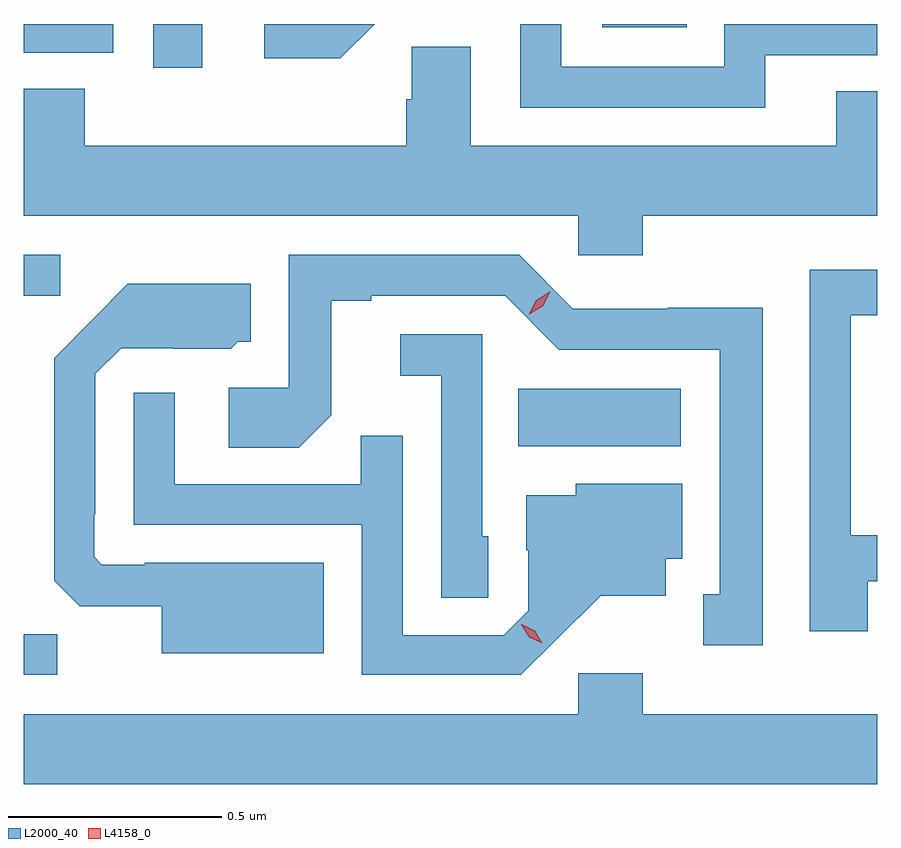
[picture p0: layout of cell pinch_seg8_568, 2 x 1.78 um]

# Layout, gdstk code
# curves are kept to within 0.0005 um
import gdstk
lib = gdstk.Library(unit=1e-6, precision=1e-09)
def R(c, l, rs):  # rectangles x0, y0, x1, y1
    for r in rs: c.add(gdstk.rectangle(r[:2], r[2:], *l))
def P(c, l, *ps):  # polygons
    for p in ps: c.add(gdstk.Polygon(p, *l))
L2000_40 = (2000, 40)
L4158_0 = (4158, 0)

pinch_seg8_568 = lib.new_cell('pinch_seg8_568')
R(pinch_seg8_568, L2000_40, [(135.099,1122.084,135.177,1122.179), (136.258,1122.62,136.639,1122.754), (135.099,1122.972,135.184,1123.068), (135.402,1123.506,135.517,1123.609), (135.099,1123.542,135.309,1123.609), (136.455,1123.601,136.653,1123.609)])
P(pinch_seg8_568, L2000_40, [(135.922,1123.609),(135.663,1123.609),(135.663,1123.529),(135.841,1123.529)],
  [(136.837,1123.536),(137.099,1123.536),(137.099,1123.609),(136.74,1123.609),(136.74,1123.509),(136.359,1123.509),(136.359,1123.609),(136.263,1123.609),(136.263,1123.413),(136.837,1123.413)],
  [(136.55,1123.16),(137.099,1123.16),(137.099,1123.451),(137.003,1123.451),(137.003,1123.324),(136.147,1123.324),(136.147,1123.556),(136.008,1123.556),(136.008,1123.433),(135.995,1123.433),(135.995,1123.324),(135.242,1123.324),(135.242,1123.457),(135.099,1123.457),(135.099,1123.16),(136.398,1123.16),(136.398,1123.067),(136.55,1123.067)],
  [(136.831,1122.944),(136.608,1122.944),(136.608,1122.942),(136.386,1122.942),(136.26,1123.068),(135.72,1123.068),(135.72,1122.756),(135.579,1122.756),(135.579,1122.616),(135.743,1122.616),(135.819,1122.692),(135.819,1122.96),(135.913,1122.96),(135.913,1122.972),(136.227,1122.972),(136.353,1122.846),(136.73,1122.846),(136.73,1122.273),(136.691,1122.273),(136.691,1122.153),(136.831,1122.153)],
  [(137.077,1122.303),(137.099,1122.303),(137.099,1122.411),(137.037,1122.411),(137.037,1122.927),(137.099,1122.927),(137.099,1123.033),(136.941,1123.033),(136.941,1122.186),(137.077,1122.186)],
  [(135.802,1122.346),(135.382,1122.346),(135.382,1122.342),(135.282,1122.342),(135.264,1122.36),(135.264,1122.46),(135.267,1122.46),(135.267,1122.789),(135.327,1122.849),(135.45,1122.849),(135.45,1122.848),(135.584,1122.848),(135.6,1122.864),(135.631,1122.864),(135.631,1123),(135.343,1123),(135.171,1122.826),(135.171,1122.304),(135.23,1122.245),(135.422,1122.245),(135.422,1122.134),(135.802,1122.134)],
  [(136.188,1122.408),(136.173,1122.408),(136.173,1122.882),(135.981,1122.882),(135.981,1122.785),(136.077,1122.785),(136.077,1122.265),(136.188,1122.265)],
  [(136.348,1122.167),(136.451,1122.269),(136.603,1122.269),(136.603,1122.356),(136.642,1122.356),(136.642,1122.532),(136.392,1122.532),(136.392,1122.505),(136.277,1122.505),(136.277,1122.376),(136.281,1122.376),(136.281,1122.234),(136.224,1122.177),(135.987,1122.177),(135.987,1122.644),(135.889,1122.644),(135.889,1122.531),(135.453,1122.531),(135.453,1122.745),(135.357,1122.745),(135.357,1122.435),(135.891,1122.435),(135.891,1122.084),(136.264,1122.084)],
  [(137.099,1121.992),(136.55,1121.992),(136.55,1122.088),(136.398,1122.088),(136.398,1121.992),(135.099,1121.992),(135.099,1121.828),(137.099,1121.828)])
P(pinch_seg8_568, L4158_0, [(136.283,1122.929),(136.283,1122.93),(136.3,1122.962),(136.332,1122.981),(136.333,1122.981),(136.333,1122.981),(136.315,1122.948),(136.283,1122.929)],
  [(136.314,1122.158),(136.283,1122.172),(136.265,1122.201),(136.265,1122.202),(136.266,1122.202),(136.296,1122.187),(136.314,1122.158),(136.314,1122.158)])

lib.write_gds('pinch_seg8_568.gds')
